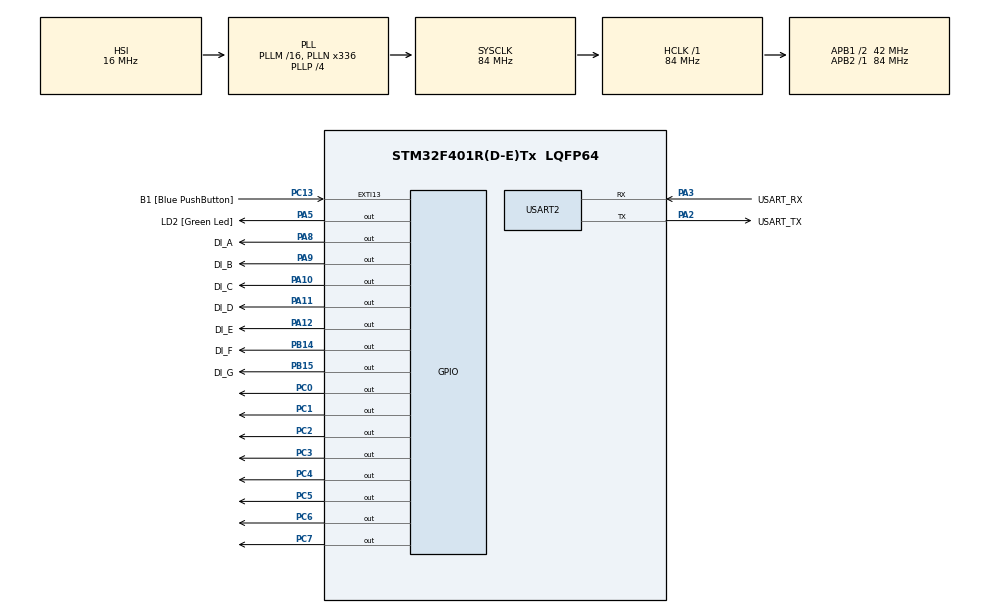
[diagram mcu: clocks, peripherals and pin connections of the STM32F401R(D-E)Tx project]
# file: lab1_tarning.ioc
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Mcu.Family=STM32F4
Mcu.Name=STM32F401R(D-E)Tx
Mcu.Package=LQFP64
NVIC.PriorityGroup=NVIC_PRIORITYGROUP_0
PA10.GPIO_Label=DI_C
PA10.Signal=GPIO_Output
PA11.GPIO_Label=DI_D
PA11.Signal=GPIO_Output
PA12.GPIO_Label=DI_E
PA12.Signal=GPIO_Output
PA13.GPIO_Label=TMS
PA13.Mode=Serial_Wire
PA13.Signal=SYS_JTMS-SWDIO
PA14.GPIO_Label=TCK
PA14.Mode=Serial_Wire
PA14.Signal=SYS_JTCK-SWCLK
PA2.GPIO_Label=USART_TX
PA2.GPIO_Mode=GPIO_MODE_AF_PP
PA2.GPIO_PuPd=GPIO_NOPULL
PA2.GPIO_Speed=GPIO_SPEED_FREQ_LOW
PA2.Mode=Asynchronous
PA2.Signal=USART2_TX
PA3.GPIO_Label=USART_RX
PA3.GPIO_Mode=GPIO_MODE_AF_PP
PA3.GPIO_PuPd=GPIO_NOPULL
PA3.GPIO_Speed=GPIO_SPEED_FREQ_LOW
PA3.Mode=Asynchronous
PA3.Signal=USART2_RX
PA5.GPIO_Label=LD2 [Green Led]
PA5.GPIO_Mode=GPIO_MODE_OUTPUT_PP
PA5.GPIO_PuPd=GPIO_NOPULL
PA5.GPIO_Speed=GPIO_SPEED_FREQ_LOW
PA5.Signal=GPIO_Output
PA8.GPIO_Label=DI_A
PA8.Signal=GPIO_Output
PA9.GPIO_Label=DI_B
PA9.Signal=GPIO_Output
PB14.GPIO_Label=DI_F
PB14.Signal=GPIO_Output
PB15.GPIO_Label=DI_G
PB15.Signal=GPIO_Output
PB3.GPIO_Label=SWO
PB3.Signal=SYS_JTDO-SWO
PC0.Signal=GPIO_Output
PC1.Signal=GPIO_Output
PC13-ANTI_TAMP.GPIO_Label=B1 [Blue PushButton]
PC13-ANTI_TAMP.GPIO_ModeDefaultEXTI=GPIO_MODE_IT_FALLING
PC13-ANTI_TAMP.GPIO_PuPd=GPIO_NOPULL
PC13-ANTI_TAMP.Signal=GPXTI13
PC14-OSC32_IN.Mode=LSE-External-Oscillator
PC14-OSC32_IN.Signal=RCC_OSC32_IN
PC15-OSC32_OUT.Mode=LSE-External-Oscillator
PC15-OSC32_OUT.Signal=RCC_OSC32_OUT
PC2.Signal=GPIO_Output
PC3.Signal=GPIO_Output
PC4.Signal=GPIO_Output
PC5.Signal=GPIO_Output
PC6.Signal=GPIO_Output
PC7.Signal=GPIO_Output
PH0\ -\ OSC_IN.Mode=HSE-External-Clock-Source
PH0\ -\ OSC_IN.Signal=RCC_OSC_IN
PH1\ -\ OSC_OUT.Mode=HSE-External-Clock-Source
PH1\ -\ OSC_OUT.Signal=RCC_OSC_OUT
ProjectManager.HeapSize=0x200
ProjectManager.StackSize=0x400
ProjectManager.TargetToolchain=STM32CubeIDE
RCC.48MHZClocksFreq_Value=48000000
RCC.AHBFreq_Value=84000000
RCC.APB1CLKDivider=RCC_HCLK_DIV2
RCC.APB1Freq_Value=42000000
RCC.APB1TimFreq_Value=84000000
RCC.APB2Freq_Value=84000000
RCC.APB2TimFreq_Value=84000000
RCC.CortexFreq_Value=84000000
RCC.HCLKFreq_Value=84000000
RCC.HSE_VALUE=8000000
RCC.HSI_VALUE=16000000
RCC.PLLN=336
RCC.PLLP=RCC_PLLP_DIV4
RCC.PLLQ=7
RCC.SYSCLKFreq_VALUE=84000000
RCC.SYSCLKSource=RCC_SYSCLKSOURCE_PLLCLK
RCC.VCOOutputFreq_Value=336000000
USART2.VirtualMode=VM_ASYNC
board=NUCLEO-F401RE

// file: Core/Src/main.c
/* USER CODE BEGIN Header */
/**
  ******************************************************************************
  * @file           : main.c
  * @brief          : Main program body
  ******************************************************************************
  * @attention
  *
  * Copyright (c) 2024 STMicroelectronics.
  * All rights reserved.
  *
  * This software is licensed under terms that can be found in the LICENSE file
  * in the root directory of this software component.
  * If no LICENSE file comes with this software, it is provided AS-IS.
  *
  ******************************************************************************
  */
/* USER CODE END Header */
#include "main.h"

UART_HandleTypeDef huart2;

void SystemClock_Config(void);
static void MX_GPIO_Init(void);
static void MX_USART2_UART_Init(void);
/* USER CODE BEGIN PFP */
int is_blue_button_pressed();
void put_die_dots(uint8_t die_nbr);
/* USER CODE END PFP */

/* USER CODE BEGIN 0 */

// returns 1 if blue button is pressed
// returns 0 if blue button isn't pressed
int is_blue_button_pressed()
{
	// register_reading gets data from IDR (Input Data Register)
	uint32_t register_reading = GPIOC->IDR;

	// set the pin number
	uint16_t		b1_pin_nbr	= 13;

	// calculates the pin mask for the b1 pin by shifting 0x01 b1_pin_nbr positions to the left.
	uint16_t		b1_pin		= 0x01 << b1_pin_nbr;

	// compares each bit of register_reading with the corresponding bit of b1_pin.
	// if the comparison is 0, the button is pressed (returns true).
	return (register_reading & b1_pin) == 0;
}

void put_die_dots(uint8_t die_nbr)
{
	switch(die_nbr) {
		case 1:
			//DI_D PA11
			//tänd
			HAL_GPIO_WritePin(GPIOA, DI_D_Pin, GPIO_PIN_SET);

			//släck
			HAL_GPIO_WritePin(GPIOA, DI_A_Pin, GPIO_PIN_RESET);
			HAL_GPIO_WritePin(GPIOA, DI_B_Pin, GPIO_PIN_RESET);
			HAL_GPIO_WritePin(GPIOA, DI_C_Pin, GPIO_PIN_RESET);
			HAL_GPIO_WritePin(GPIOA, DI_E_Pin, GPIO_PIN_RESET);
			HAL_GPIO_WritePin(GPIOB, DI_F_Pin, GPIO_PIN_RESET);
			HAL_GPIO_WritePin(GPIOB, DI_G_Pin, GPIO_PIN_RESET);
			break;

		case 2:
			//DI_F PB14 och DI_B PA9
			//tänd
			HAL_GPIO_WritePin(GPIOA, DI_B_Pin, GPIO_PIN_SET);
			HAL_GPIO_WritePin(GPIOB, DI_F_Pin, GPIO_PIN_SET);

			//släck
			HAL_GPIO_WritePin(GPIOA, DI_A_Pin, GPIO_PIN_RESET);
			HAL_GPIO_WritePin(GPIOA, DI_C_Pin, GPIO_PIN_RESET);
			HAL_GPIO_WritePin(GPIOA, DI_D_Pin, GPIO_PIN_RESET);
			HAL_GPIO_WritePin(GPIOA, DI_E_Pin, GPIO_PIN_RESET);
			HAL_GPIO_WritePin(GPIOB, DI_G_Pin, GPIO_PIN_RESET);
			break;

		case 3:
			//DI_F PB14 och DI_D PA11 och DI_B PA9
			//tänd
			HAL_GPIO_WritePin(GPIOA, DI_B_Pin, GPIO_PIN_SET);
			HAL_GPIO_WritePin(GPIOB, DI_F_Pin, GPIO_PIN_SET);
			HAL_GPIO_WritePin(GPIOA, DI_D_Pin, GPIO_PIN_SET);

			//släck
			HAL_GPIO_WritePin(GPIOA, DI_A_Pin, GPIO_PIN_RESET);
			HAL_GPIO_WritePin(GPIOA, DI_C_Pin, GPIO_PIN_RESET);
			HAL_GPIO_WritePin(GPIOA, DI_E_Pin, GPIO_PIN_RESET);
			HAL_GPIO_WritePin(GPIOB, DI_G_Pin, GPIO_PIN_RESET);
			break;

		case 4:
			//DI_A PA8 och DI_B PA9 och DI_G PB15 och DI_F PB14
			//tänd
			HAL_GPIO_WritePin(GPIOA, DI_A_Pin, GPIO_PIN_SET);
			HAL_GPIO_WritePin(GPIOA, DI_B_Pin, GPIO_PIN_SET);
			HAL_GPIO_WritePin(GPIOB, DI_F_Pin, GPIO_PIN_SET);
			HAL_GPIO_WritePin(GPIOB, DI_G_Pin, GPIO_PIN_SET);

			//släck
			HAL_GPIO_WritePin(GPIOA, DI_C_Pin, GPIO_PIN_RESET);
			HAL_GPIO_WritePin(GPIOA, DI_D_Pin, GPIO_PIN_RESET);
			HAL_GPIO_WritePin(GPIOA, DI_E_Pin, GPIO_PIN_RESET);
			break;

		case 5:
			//DI_A PA8 och DI_B PA9 och DI_G PB15 och DI_F PB14 och DI_D PA11
			//tänd
			HAL_GPIO_WritePin(GPIOA, DI_A_Pin, GPIO_PIN_SET);
			HAL_GPIO_WritePin(GPIOA, DI_B_Pin, GPIO_PIN_SET);
			HAL_GPIO_WritePin(GPIOA, DI_D_Pin, GPIO_PIN_SET);
			HAL_GPIO_WritePin(GPIOB, DI_F_Pin, GPIO_PIN_SET);
			HAL_GPIO_WritePin(GPIOB, DI_G_Pin, GPIO_PIN_SET);

			//släck
			HAL_GPIO_WritePin(GPIOA, DI_C_Pin, GPIO_PIN_RESET);
			HAL_GPIO_WritePin(GPIOA, DI_E_Pin, GPIO_PIN_RESET);
			break;

		case 6:
			//DI_A PA8 och DI_B PA9 och DI_G PB15 och DI_F PB14 och DI_C PA10 och DI_E PA12
			//tänd
			HAL_GPIO_WritePin(GPIOA, DI_A_Pin, GPIO_PIN_SET);
			HAL_GPIO_WritePin(GPIOA, DI_B_Pin, GPIO_PIN_SET);
			HAL_GPIO_WritePin(GPIOA, DI_C_Pin, GPIO_PIN_SET);
			HAL_GPIO_WritePin(GPIOA, DI_E_Pin, GPIO_PIN_SET);
			HAL_GPIO_WritePin(GPIOB, DI_F_Pin, GPIO_PIN_SET);
			HAL_GPIO_WritePin(GPIOB, DI_G_Pin, GPIO_PIN_SET);

			//släck
			HAL_GPIO_WritePin(GPIOA, DI_D_Pin, GPIO_PIN_RESET);
			break;

		default:
			//tänd alla lampor if there's no case match
			HAL_GPIO_WritePin(GPIOA, DI_A_Pin, GPIO_PIN_SET);
			HAL_GPIO_WritePin(GPIOA, DI_B_Pin, GPIO_PIN_SET);
			HAL_GPIO_WritePin(GPIOA, DI_C_Pin, GPIO_PIN_SET);
			HAL_GPIO_WritePin(GPIOA, DI_D_Pin, GPIO_PIN_SET);
			HAL_GPIO_WritePin(GPIOA, DI_E_Pin, GPIO_PIN_SET);
			HAL_GPIO_WritePin(GPIOB, DI_F_Pin, GPIO_PIN_SET);
			HAL_GPIO_WritePin(GPIOB, DI_G_Pin, GPIO_PIN_SET);
	}
}

/* USER CODE END 0 */

int main(void)
{

  /* MCU Configuration--------------------------------------------------------*/

  /* Reset of all peripherals, Initializes the Flash interface and the Systick. */
  HAL_Init();

  /* Configure the system clock */
  SystemClock_Config();

  /* Initialize all configured peripherals */
  MX_GPIO_Init();
  MX_USART2_UART_Init();

  /* Infinite loop */
  /* USER CODE BEGIN WHILE */
  uint8_t counter = 1;
  while (1)
  {

	  if(is_blue_button_pressed())
	  {
		  //when the button is pressed, loop the counter 1-6.

	  	  counter++;

		  if (counter == 7){
			  counter = 1;}

		  HAL_GPIO_WritePin(LD2_GPIO_Port, LD2_Pin, GPIO_PIN_SET);
	  }
	  else
	  {
		  //when the button is released, send the counter value to the put_die_dots function

		  GPIO_TypeDef* ld2_gpio	= GPIOA;
		  uint16_t		ld2_pin_nbr = 5;
		  uint16_t		ld2_pin		= 0x01 << ld2_pin_nbr;
		  HAL_GPIO_WritePin(ld2_gpio, ld2_pin, GPIO_PIN_RESET);
	  }

	  put_die_dots(counter);

    /* USER CODE END WHILE */

  }
}

void SystemClock_Config(void)
{
  RCC_OscInitTypeDef RCC_OscInitStruct = {0};
  RCC_ClkInitTypeDef RCC_ClkInitStruct = {0};

  /** Configure the main internal regulator output voltage
  */
  __HAL_RCC_PWR_CLK_ENABLE();
  __HAL_PWR_VOLTAGESCALING_CONFIG(PWR_REGULATOR_VOLTAGE_SCALE2);

  /** Initializes the RCC Oscillators according to the specified parameters
  * in the RCC_OscInitTypeDef structure.
  */
  RCC_OscInitStruct.OscillatorType = RCC_OSCILLATORTYPE_HSI;
  RCC_OscInitStruct.HSIState = RCC_HSI_ON;
  RCC_OscInitStruct.HSICalibrationValue = RCC_HSICALIBRATION_DEFAULT;
  RCC_OscInitStruct.PLL.PLLState = RCC_PLL_ON;
  RCC_OscInitStruct.PLL.PLLSource = RCC_PLLSOURCE_HSI;
  RCC_OscInitStruct.PLL.PLLM = 16;
  RCC_OscInitStruct.PLL.PLLN = 336;
  RCC_OscInitStruct.PLL.PLLP = RCC_PLLP_DIV4;
  RCC_OscInitStruct.PLL.PLLQ = 7;
  if (HAL_RCC_OscConfig(&RCC_OscInitStruct) != HAL_OK)
  {
    Error_Handler();
  }

  /** Initializes the CPU, AHB and APB buses clocks
  */
  RCC_ClkInitStruct.ClockType = RCC_CLOCKTYPE_HCLK|RCC_CLOCKTYPE_SYSCLK
                              |RCC_CLOCKTYPE_PCLK1|RCC_CLOCKTYPE_PCLK2;
  RCC_ClkInitStruct.SYSCLKSource = RCC_SYSCLKSOURCE_PLLCLK;
  RCC_ClkInitStruct.AHBCLKDivider = RCC_SYSCLK_DIV1;
  RCC_ClkInitStruct.APB1CLKDivider = RCC_HCLK_DIV2;
  RCC_ClkInitStruct.APB2CLKDivider = RCC_HCLK_DIV1;

  if (HAL_RCC_ClockConfig(&RCC_ClkInitStruct, FLASH_LATENCY_2) != HAL_OK)
  {
    Error_Handler();
  }
}

static void MX_USART2_UART_Init(void)
{

  huart2.Instance = USART2;
  huart2.Init.BaudRate = 115200;
  huart2.Init.WordLength = UART_WORDLENGTH_8B;
  huart2.Init.StopBits = UART_STOPBITS_1;
  huart2.Init.Parity = UART_PARITY_NONE;
  huart2.Init.Mode = UART_MODE_TX_RX;
  huart2.Init.HwFlowCtl = UART_HWCONTROL_NONE;
  huart2.Init.OverSampling = UART_OVERSAMPLING_16;
  if (HAL_UART_Init(&huart2) != HAL_OK)
  {
    Error_Handler();
  }

}

static void MX_GPIO_Init(void)
{
  GPIO_InitTypeDef GPIO_InitStruct = {0};

  /* GPIO Ports Clock Enable */
  __HAL_RCC_GPIOC_CLK_ENABLE();
  __HAL_RCC_GPIOH_CLK_ENABLE();
  __HAL_RCC_GPIOA_CLK_ENABLE();
  __HAL_RCC_GPIOB_CLK_ENABLE();

  /*Configure GPIO pin Output Level */
  HAL_GPIO_WritePin(GPIOA, LD2_Pin|DI_A_Pin|DI_B_Pin|DI_C_Pin
                          |DI_D_Pin|DI_E_Pin, GPIO_PIN_RESET);

  /*Configure GPIO pin Output Level */
  HAL_GPIO_WritePin(GPIOB, DI_F_Pin|DI_G_Pin, GPIO_PIN_RESET);

  /*Configure GPIO pin : B1_Pin */
  GPIO_InitStruct.Pin = B1_Pin;
  GPIO_InitStruct.Mode = GPIO_MODE_IT_FALLING;
  GPIO_InitStruct.Pull = GPIO_NOPULL;
  HAL_GPIO_Init(B1_GPIO_Port, &GPIO_InitStruct);

  /*Configure GPIO pins : LD2_Pin DI_A_Pin DI_B_Pin DI_C_Pin
                           DI_D_Pin DI_E_Pin */
  GPIO_InitStruct.Pin = LD2_Pin|DI_A_Pin|DI_B_Pin|DI_C_Pin
                          |DI_D_Pin|DI_E_Pin;
  GPIO_InitStruct.Mode = GPIO_MODE_OUTPUT_PP;
  GPIO_InitStruct.Pull = GPIO_NOPULL;
  GPIO_InitStruct.Speed = GPIO_SPEED_FREQ_LOW;
  HAL_GPIO_Init(GPIOA, &GPIO_InitStruct);

  /*Configure GPIO pins : DI_F_Pin DI_G_Pin */
  GPIO_InitStruct.Pin = DI_F_Pin|DI_G_Pin;
  GPIO_InitStruct.Mode = GPIO_MODE_OUTPUT_PP;
  GPIO_InitStruct.Pull = GPIO_NOPULL;
  GPIO_InitStruct.Speed = GPIO_SPEED_FREQ_LOW;
  HAL_GPIO_Init(GPIOB, &GPIO_InitStruct);

}

void Error_Handler(void)
{
  __disable_irq();
  while (1)
  {
  }
}
